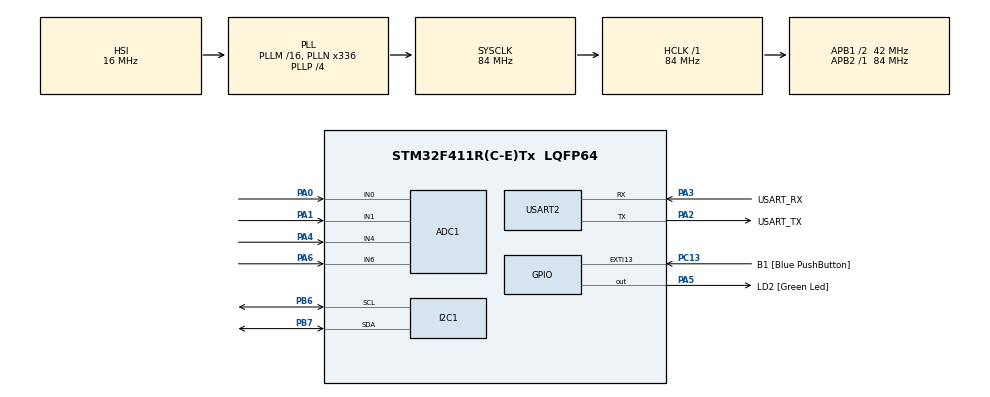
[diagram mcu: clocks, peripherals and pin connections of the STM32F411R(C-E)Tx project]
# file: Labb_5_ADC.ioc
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ADC1.Channel-0\#ChannelRegularConversion=ADC_CHANNEL_0
ADC1.Channel-1\#ChannelRegularConversion=ADC_CHANNEL_1
ADC1.Channel-2\#ChannelRegularConversion=ADC_CHANNEL_4
ADC1.Channel-3\#ChannelRegularConversion=ADC_CHANNEL_6
ADC1.ContinuousConvMode=ENABLE
ADC1.NbrOfConversion=4
ADC1.NbrOfConversionFlag=1
ADC1.Rank-0\#ChannelRegularConversion=1
ADC1.Rank-1\#ChannelRegularConversion=2
ADC1.Rank-2\#ChannelRegularConversion=3
ADC1.Rank-3\#ChannelRegularConversion=4
ADC1.SamplingTime-0\#ChannelRegularConversion=ADC_SAMPLETIME_480CYCLES
ADC1.SamplingTime-1\#ChannelRegularConversion=ADC_SAMPLETIME_480CYCLES
ADC1.SamplingTime-2\#ChannelRegularConversion=ADC_SAMPLETIME_480CYCLES
ADC1.SamplingTime-3\#ChannelRegularConversion=ADC_SAMPLETIME_480CYCLES
ADC1.ScanConvMode=ENABLE
ADC1.master=1
Mcu.Family=STM32F4
Mcu.Name=STM32F411R(C-E)Tx
Mcu.Package=LQFP64
NVIC.ADC_IRQn=true\:0\:0\:false\:false\:true\:true\:true\:true
NVIC.PriorityGroup=NVIC_PRIORITYGROUP_0
PA0-WKUP.Signal=ADCx_IN0
PA1.Signal=ADCx_IN1
PA13.GPIO_Label=TMS
PA13.Mode=Serial_Wire
PA13.Signal=SYS_JTMS-SWDIO
PA14.GPIO_Label=TCK
PA14.Mode=Serial_Wire
PA14.Signal=SYS_JTCK-SWCLK
PA2.GPIO_Label=USART_TX
PA2.Mode=Asynchronous
PA2.Signal=USART2_TX
PA3.GPIO_Label=USART_RX
PA3.Mode=Asynchronous
PA3.Signal=USART2_RX
PA4.Signal=ADCx_IN4
PA5.GPIO_Label=LD2 [Green Led]
PA5.Signal=GPIO_Output
PA6.Signal=ADCx_IN6
PB3.GPIO_Label=SWO
PB3.Signal=SYS_JTDO-SWO
PB6.Mode=I2C
PB6.Signal=I2C1_SCL
PB7.Mode=I2C
PB7.Signal=I2C1_SDA
PC13-ANTI_TAMP.GPIO_Label=B1 [Blue PushButton]
PC13-ANTI_TAMP.GPIO_ModeDefaultEXTI=GPIO_MODE_IT_FALLING
PC13-ANTI_TAMP.Signal=GPXTI13
PC14-OSC32_IN.Mode=LSE-External-Oscillator
PC14-OSC32_IN.Signal=RCC_OSC32_IN
PC15-OSC32_OUT.Mode=LSE-External-Oscillator
PC15-OSC32_OUT.Signal=RCC_OSC32_OUT
PH0\ -\ OSC_IN.Mode=HSE-External-Clock-Source
PH0\ -\ OSC_IN.Signal=RCC_OSC_IN
PH1\ -\ OSC_OUT.Mode=HSE-External-Clock-Source
PH1\ -\ OSC_OUT.Signal=RCC_OSC_OUT
ProjectManager.HeapSize=0x200
ProjectManager.StackSize=0x400
ProjectManager.TargetToolchain=STM32CubeIDE
RCC.48MHZClocksFreq_Value=84000000
RCC.AHBFreq_Value=84000000
RCC.APB1CLKDivider=RCC_HCLK_DIV2
RCC.APB1Freq_Value=42000000
RCC.APB1TimFreq_Value=84000000
RCC.APB2Freq_Value=84000000
RCC.APB2TimFreq_Value=84000000
RCC.CortexFreq_Value=84000000
RCC.FLatency-AdvancedSettings=FLASH_LATENCY_2
RCC.HCLKFreq_Value=84000000
RCC.HSE_VALUE=8000000
RCC.HSI_VALUE=16000000
RCC.PLLN=336
RCC.PLLP=RCC_PLLP_DIV4
RCC.SYSCLKFreq_VALUE=84000000
RCC.SYSCLKSource=RCC_SYSCLKSOURCE_PLLCLK
RCC.VCOOutputFreq_Value=336000000
SH.ADCx_IN0.0=ADC1_IN0,IN0
SH.ADCx_IN1.0=ADC1_IN1,IN1
SH.ADCx_IN4.0=ADC1_IN4,IN4
SH.ADCx_IN6.0=ADC1_IN6,IN6
TIM2.Prescaler=84-1
USART2.VirtualMode=VM_ASYNC
VP_TIM2_VS_ClockSourceINT.Mode=Internal
board=NUCLEO-F411RE

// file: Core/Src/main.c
/* USER CODE BEGIN Header */
/**
  ******************************************************************************
  * @file           : main.c
  * @brief          : Main program body
  ******************************************************************************
  * @attention
  *
  * Copyright (c) 2023 STMicroelectronics.
  * All rights reserved.
  *
  * This software is licensed under terms that can be found in the LICENSE file
  * in the root directory of this software component.
  * If no LICENSE file comes with this software, it is provided AS-IS.
  *
  ******************************************************************************
  */
/* USER CODE END Header */
#include "main.h"

/* USER CODE BEGIN Includes */
#include "lcd.h"
#include <stdio.h>
/* USER CODE END Includes */

ADC_HandleTypeDef hadc1;

I2C_HandleTypeDef hi2c1;

TIM_HandleTypeDef htim2;

UART_HandleTypeDef huart2;

/* USER CODE BEGIN PV */
char str[41] = { '\0'};
TextLCDType lcd;
#define ADC_BUF_SIZE 4
uint16_t adc_buffer[ADC_BUF_SIZE];
int adc_buf_ix = 0;
#define JOY_X_IX 0
#define JOY_Y_IX 1
#define LM35_IX 2
#define LIGHT_IX 3
/* USER CODE END PV */

void SystemClock_Config(void);
static void MX_GPIO_Init(void);
static void MX_USART2_UART_Init(void);
static void MX_I2C1_Init(void);
static void MX_ADC1_Init(void);
static void MX_TIM2_Init(void);
/* USER CODE BEGIN PFP */
uint16_t read_one_adc_value(ADC_HandleTypeDef * hadc);
void convert_time_to_str(float numbah);
float normalize_12bit_posneg(uint16_t x);
float normalize_12bit(uint16_t x);
float lm35_to_celcsius(uint16_t lm35_reading);
float light_sensor(uint16_t light_reading);
void convert_light_to_str(float numbah);
void convert_celcsius_to_str(float numbah);
// void HAL_ADC_ConvCpltCallback( ADC_HandleTypeDef *hadc);
/* USER CODE END PFP */

/* USER CODE BEGIN 0 */
uint16_t read_one_adc_value(ADC_HandleTypeDef * hadc)
{
	HAL_ADC_Start(hadc);
	HAL_ADC_PollForConversion(hadc, 100);
	uint32_t reading = HAL_ADC_GetValue(hadc);
	HAL_ADC_Stop(hadc);
	return (uint16_t) reading;
}

void convert_time_to_str(float numbah)
{
	sprintf(str, "%0.2f", numbah);
}
void convert_light_to_str(float numbah)
{
	sprintf(str, "%0.3f", numbah);
}

void convert_celcsius_to_str(float numbah)
{
	sprintf(str, "%0.1f", numbah);
}

float normalize_12bit(uint16_t x)
{
	return 1 - (x / 4095.0);
}
float normalize_12bit_posneg(uint16_t x)
{
	return (x / 2048.0) - 1;
}
/*
float lm35_to_celcsius(uint16_t lm35_reading)
{
	return (float)(lm35_reading / 23.0);
}
*/
float lm35_to_celcsius(uint16_t lm35_reading)
{
    // Spänningsnivån (i millivolt) som LM35 genererar per grad Celsius
    float mV_per_Celsius = 10.0;

    // Konvertera LM35-avläsningsvärdet till spänning (i millivolt)
    float voltage_mV = (lm35_reading / 4095.0) * 2500.0;  // 3300 mV är 3.3 V, ADC med 12 bitar

    // Beräkna temperatur i grader Celsius
    float temperature_Celsius = voltage_mV / mV_per_Celsius;

    return temperature_Celsius;
}
float light_sensor(uint16_t light_reading)
{
	return (light_reading / 100.0);
}
void HAL_ADC_ConvCpltCallback(ADC_HandleTypeDef *hadc)
{
	/*
	if (__HAL_ADC_GET_FLAG(hadc, ADC_FLAG_EOC))
	{
		adc_buffer[adc_buf_ix] = HAL_ADC_GetValue(hadc);
		adc_buf_ix++;
	}
	*/
	//adc_buffer[adc_buf_ix] = normalize_12bit_posneg(read_one_adc_value(hadc));
	//adc_buffer[adc_buf_ix] = read_one_adc_value(hadc);
	if(adc_buf_ix == ADC_BUF_SIZE)
	{
		adc_buf_ix = 0;
	}
	adc_buffer[adc_buf_ix] = HAL_ADC_GetValue(hadc);
	adc_buf_ix++;
}
/* USER CODE END 0 */

int main(void)
{

  /* MCU Configuration--------------------------------------------------------*/

  /* Reset of all peripherals, Initializes the Flash interface and the Systick. */
  HAL_Init();

  /* Configure the system clock */
  SystemClock_Config();

  /* Initialize all configured peripherals */
  MX_GPIO_Init();
  MX_USART2_UART_Init();
  MX_I2C1_Init();
  MX_ADC1_Init();
  MX_TIM2_Init();
  /* USER CODE BEGIN 2 */
  TextLCD_Init(&lcd, &hi2c1, 0x4E);
  /* USER CODE END 2 */

  /* Infinite loop */
  /* USER CODE BEGIN WHILE */
  //TextLCD_SendByte(&lcd, 0x0F, 0);
  HAL_ADC_Start_IT(&hadc1);
  while (1)
  {
	  //HAL_Delay(20);
	  if (adc_buf_ix == ADC_BUF_SIZE)
	  {
		  //x value
		  TextLCD_Position(&lcd, 0, 0);
		  convert_time_to_str(normalize_12bit_posneg(adc_buffer[JOY_X_IX]));
		  if(normalize_12bit_posneg(adc_buffer[JOY_X_IX]) >= 0){
			  TextLCD_PutChar(&lcd, '+');
		  }
		  TextLCD_PutStr(&lcd, str);
		  TextLCD_PutChar(&lcd, 'x');

		  //y value
		  TextLCD_Position(&lcd, 0, 1);
		  convert_time_to_str(normalize_12bit_posneg(adc_buffer[JOY_Y_IX]));
		  if(normalize_12bit_posneg(adc_buffer[JOY_Y_IX]) >= 0){
			  TextLCD_PutChar(&lcd, '+');
		  }
		  TextLCD_PutStr(&lcd, str);
		  TextLCD_PutChar(&lcd, 'y');

		  //temperature value
		  TextLCD_Position(&lcd, 10, 0);
		  convert_celcsius_to_str(lm35_to_celcsius(adc_buffer[LM35_IX]));
		  TextLCD_PutStr(&lcd, str);
		  TextLCD_PutChar(&lcd, 0B11011111);
		  TextLCD_PutChar(&lcd, 'C');

		  //light value
		  TextLCD_Position(&lcd, 10, 1);
		  convert_light_to_str(normalize_12bit(adc_buffer[LIGHT_IX]));
		  //if(normalize_12bit(adc_buffer[LIGHT_IX]) >= 0){
		//	  TextLCD_PutChar(&lcd, '+');
		  //}
		  TextLCD_PutStr(&lcd, str);
		  TextLCD_PutChar(&lcd, 'L');
	  }

	  //TextLCD_Position(&lcd, 0, 0);
	  //convert_time_to_str(normalize_12bit(read_one_adc_value(&hadc1)));
	  //convert_time_to_str(normalize_12bit_posneg(read_one_adc_value(&hadc1)));
	  //TextLCD_PutStr(&lcd, str);
	  //HAL_Delay(10);

    /* USER CODE END WHILE */

  }
}

void SystemClock_Config(void)
{
  RCC_OscInitTypeDef RCC_OscInitStruct = {0};
  RCC_ClkInitTypeDef RCC_ClkInitStruct = {0};

  /** Configure the main internal regulator output voltage
  */
  __HAL_RCC_PWR_CLK_ENABLE();
  __HAL_PWR_VOLTAGESCALING_CONFIG(PWR_REGULATOR_VOLTAGE_SCALE1);

  /** Initializes the RCC Oscillators according to the specified parameters
  * in the RCC_OscInitTypeDef structure.
  */
  RCC_OscInitStruct.OscillatorType = RCC_OSCILLATORTYPE_HSI;
  RCC_OscInitStruct.HSIState = RCC_HSI_ON;
  RCC_OscInitStruct.HSICalibrationValue = RCC_HSICALIBRATION_DEFAULT;
  RCC_OscInitStruct.PLL.PLLState = RCC_PLL_ON;
  RCC_OscInitStruct.PLL.PLLSource = RCC_PLLSOURCE_HSI;
  RCC_OscInitStruct.PLL.PLLM = 16;
  RCC_OscInitStruct.PLL.PLLN = 336;
  RCC_OscInitStruct.PLL.PLLP = RCC_PLLP_DIV4;
  RCC_OscInitStruct.PLL.PLLQ = 4;
  if (HAL_RCC_OscConfig(&RCC_OscInitStruct) != HAL_OK)
  {
    Error_Handler();
  }

  /** Initializes the CPU, AHB and APB buses clocks
  */
  RCC_ClkInitStruct.ClockType = RCC_CLOCKTYPE_HCLK|RCC_CLOCKTYPE_SYSCLK
                              |RCC_CLOCKTYPE_PCLK1|RCC_CLOCKTYPE_PCLK2;
  RCC_ClkInitStruct.SYSCLKSource = RCC_SYSCLKSOURCE_PLLCLK;
  RCC_ClkInitStruct.AHBCLKDivider = RCC_SYSCLK_DIV1;
  RCC_ClkInitStruct.APB1CLKDivider = RCC_HCLK_DIV2;
  RCC_ClkInitStruct.APB2CLKDivider = RCC_HCLK_DIV1;

  if (HAL_RCC_ClockConfig(&RCC_ClkInitStruct, FLASH_LATENCY_2) != HAL_OK)
  {
    Error_Handler();
  }
}

static void MX_ADC1_Init(void)
{

  ADC_ChannelConfTypeDef sConfig = {0};

  /** Configure the global features of the ADC (Clock, Resolution, Data Alignment and number of conversion)
  */
  hadc1.Instance = ADC1;
  hadc1.Init.ClockPrescaler = ADC_CLOCK_SYNC_PCLK_DIV4;
  hadc1.Init.Resolution = ADC_RESOLUTION_12B;
  hadc1.Init.ScanConvMode = ENABLE;
  hadc1.Init.ContinuousConvMode = ENABLE;
  hadc1.Init.DiscontinuousConvMode = DISABLE;
  hadc1.Init.ExternalTrigConvEdge = ADC_EXTERNALTRIGCONVEDGE_NONE;
  hadc1.Init.ExternalTrigConv = ADC_SOFTWARE_START;
  hadc1.Init.DataAlign = ADC_DATAALIGN_RIGHT;
  hadc1.Init.NbrOfConversion = 4;
  hadc1.Init.DMAContinuousRequests = DISABLE;
  hadc1.Init.EOCSelection = ADC_EOC_SINGLE_CONV;
  if (HAL_ADC_Init(&hadc1) != HAL_OK)
  {
    Error_Handler();
  }

  /** Configure for the selected ADC regular channel its corresponding rank in the sequencer and its sample time.
  */
  sConfig.Channel = ADC_CHANNEL_0;
  sConfig.Rank = 1;
  sConfig.SamplingTime = ADC_SAMPLETIME_480CYCLES;
  if (HAL_ADC_ConfigChannel(&hadc1, &sConfig) != HAL_OK)
  {
    Error_Handler();
  }

  /** Configure for the selected ADC regular channel its corresponding rank in the sequencer and its sample time.
  */
  sConfig.Channel = ADC_CHANNEL_1;
  sConfig.Rank = 2;
  if (HAL_ADC_ConfigChannel(&hadc1, &sConfig) != HAL_OK)
  {
    Error_Handler();
  }

  /** Configure for the selected ADC regular channel its corresponding rank in the sequencer and its sample time.
  */
  sConfig.Channel = ADC_CHANNEL_4;
  sConfig.Rank = 3;
  if (HAL_ADC_ConfigChannel(&hadc1, &sConfig) != HAL_OK)
  {
    Error_Handler();
  }

  /** Configure for the selected ADC regular channel its corresponding rank in the sequencer and its sample time.
  */
  sConfig.Channel = ADC_CHANNEL_6;
  sConfig.Rank = 4;
  if (HAL_ADC_ConfigChannel(&hadc1, &sConfig) != HAL_OK)
  {
    Error_Handler();
  }

}

static void MX_I2C1_Init(void)
{

  hi2c1.Instance = I2C1;
  hi2c1.Init.ClockSpeed = 100000;
  hi2c1.Init.DutyCycle = I2C_DUTYCYCLE_2;
  hi2c1.Init.OwnAddress1 = 0;
  hi2c1.Init.AddressingMode = I2C_ADDRESSINGMODE_7BIT;
  hi2c1.Init.DualAddressMode = I2C_DUALADDRESS_DISABLE;
  hi2c1.Init.OwnAddress2 = 0;
  hi2c1.Init.GeneralCallMode = I2C_GENERALCALL_DISABLE;
  hi2c1.Init.NoStretchMode = I2C_NOSTRETCH_DISABLE;
  if (HAL_I2C_Init(&hi2c1) != HAL_OK)
  {
    Error_Handler();
  }

}

static void MX_TIM2_Init(void)
{

  TIM_ClockConfigTypeDef sClockSourceConfig = {0};
  TIM_MasterConfigTypeDef sMasterConfig = {0};

  htim2.Instance = TIM2;
  htim2.Init.Prescaler = 84-1;
  htim2.Init.CounterMode = TIM_COUNTERMODE_UP;
  htim2.Init.Period = 4294967295;
  htim2.Init.ClockDivision = TIM_CLOCKDIVISION_DIV1;
  htim2.Init.AutoReloadPreload = TIM_AUTORELOAD_PRELOAD_DISABLE;
  if (HAL_TIM_Base_Init(&htim2) != HAL_OK)
  {
    Error_Handler();
  }
  sClockSourceConfig.ClockSource = TIM_CLOCKSOURCE_INTERNAL;
  if (HAL_TIM_ConfigClockSource(&htim2, &sClockSourceConfig) != HAL_OK)
  {
    Error_Handler();
  }
  sMasterConfig.MasterOutputTrigger = TIM_TRGO_RESET;
  sMasterConfig.MasterSlaveMode = TIM_MASTERSLAVEMODE_DISABLE;
  if (HAL_TIMEx_MasterConfigSynchronization(&htim2, &sMasterConfig) != HAL_OK)
  {
    Error_Handler();
  }

}

static void MX_USART2_UART_Init(void)
{

  huart2.Instance = USART2;
  huart2.Init.BaudRate = 115200;
  huart2.Init.WordLength = UART_WORDLENGTH_8B;
  huart2.Init.StopBits = UART_STOPBITS_1;
  huart2.Init.Parity = UART_PARITY_NONE;
  huart2.Init.Mode = UART_MODE_TX_RX;
  huart2.Init.HwFlowCtl = UART_HWCONTROL_NONE;
  huart2.Init.OverSampling = UART_OVERSAMPLING_16;
  if (HAL_UART_Init(&huart2) != HAL_OK)
  {
    Error_Handler();
  }

}

static void MX_GPIO_Init(void)
{
  GPIO_InitTypeDef GPIO_InitStruct = {0};

  /* GPIO Ports Clock Enable */
  __HAL_RCC_GPIOC_CLK_ENABLE();
  __HAL_RCC_GPIOH_CLK_ENABLE();
  __HAL_RCC_GPIOA_CLK_ENABLE();
  __HAL_RCC_GPIOB_CLK_ENABLE();

  /*Configure GPIO pin Output Level */
  HAL_GPIO_WritePin(LD2_GPIO_Port, LD2_Pin, GPIO_PIN_RESET);

  /*Configure GPIO pin : B1_Pin */
  GPIO_InitStruct.Pin = B1_Pin;
  GPIO_InitStruct.Mode = GPIO_MODE_IT_FALLING;
  GPIO_InitStruct.Pull = GPIO_NOPULL;
  HAL_GPIO_Init(B1_GPIO_Port, &GPIO_InitStruct);

  /*Configure GPIO pin : LD2_Pin */
  GPIO_InitStruct.Pin = LD2_Pin;
  GPIO_InitStruct.Mode = GPIO_MODE_OUTPUT_PP;
  GPIO_InitStruct.Pull = GPIO_NOPULL;
  GPIO_InitStruct.Speed = GPIO_SPEED_FREQ_LOW;
  HAL_GPIO_Init(LD2_GPIO_Port, &GPIO_InitStruct);

}

void Error_Handler(void)
{
  __disable_irq();
  while (1)
  {
  }
}
